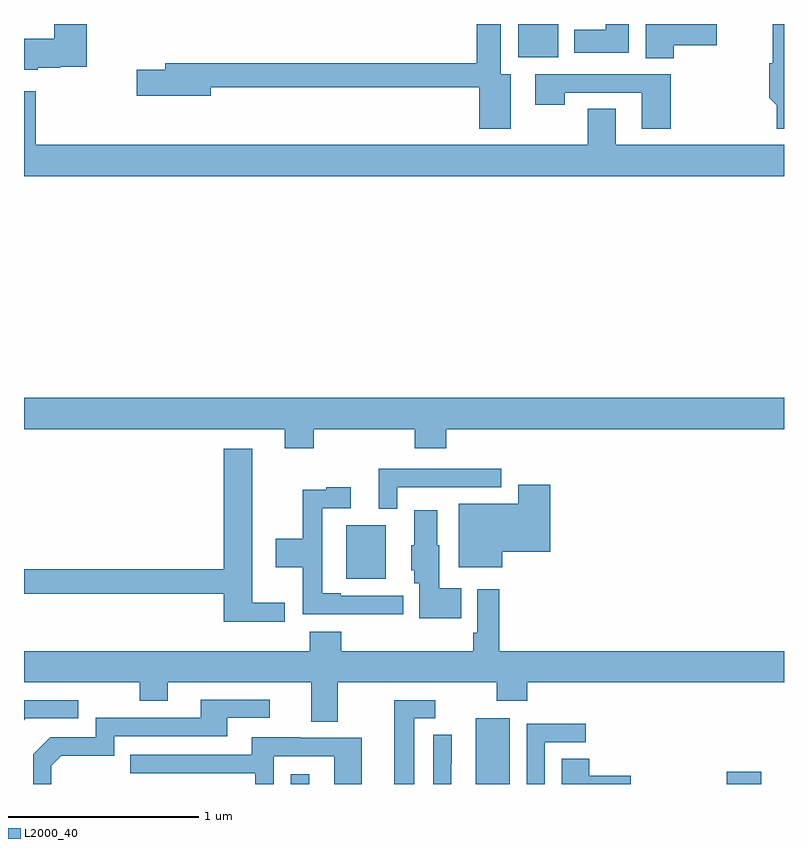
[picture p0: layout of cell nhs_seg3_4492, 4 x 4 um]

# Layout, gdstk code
import gdstk
lib = gdstk.Library(unit=1e-6, precision=1e-09)
def R(c, l, rs):  # rectangles x0, y0, x1, y1
    for r in rs: c.add(gdstk.rectangle(r[:2], r[2:], *l))
def P(c, l, *ps):  # polygons
    for p in ps: c.add(gdstk.Polygon(p, *l))
L2000_40 = (2000, 40)

nhs_seg3_4492 = lib.new_cell('nhs_seg3_4492')
R(nhs_seg3_4492, L2000_40, [(352.404,680.4,352.501,680.452), (353.378,680.4,353.557,680.746), (354.698,680.4,354.881,680.464), (352.697,681.479,352.903,681.763), (353.6,684.224,353.812,684.4)])
P(nhs_seg3_4492, L2000_40, [(351.072,684.169),(351.192,684.169),(351.192,684.176),(351.329,684.176),(351.329,684.4),(351.158,684.4),(351.158,684.322),(351,684.322),(351,684.158),(351.072,684.158)],
  [(353.563,684.136),(353.509,684.136),(353.509,684.4),(353.384,684.4),(353.384,684.194),(351.743,684.194),(351.743,684.158),(351.594,684.158),(351.594,684.023),(351.982,684.023),(351.982,684.066),(353.396,684.066),(353.396,683.85),(353.563,683.85)],
  [(354.184,684.4),(354.062,684.4),(354.062,684.37),(353.897,684.37),(353.897,684.248),(354.184,684.248)],
  [(355,684.4),(354.94,684.4),(354.94,684.194),(354.923,684.194),(354.923,684.012),(354.961,683.973),(354.961,683.85),(355,683.85)],
  [(354.419,684.287),(354.646,684.287),(354.646,684.4),(354.272,684.4),(354.272,684.22),(354.419,684.22)],
  [(354.404,684.135),(353.691,684.135),(353.691,683.976),(353.847,683.976),(353.847,684.039),(354.251,684.039),(354.251,683.85),(354.404,683.85)],
  [(355,683.764),(354.115,683.764),(354.115,683.954),(353.968,683.954),(353.968,683.764),(351.061,683.764),(351.061,684.046),(351,684.046),(351,683.6),(355,683.6)],
  [(352.526,682.268),(353.057,682.268),(353.057,682.166),(353.222,682.166),(353.222,682.268),(355,682.268),(355,682.432),(351,682.432),(351,682.268),(352.373,682.268),(352.373,682.166),(352.526,682.166)],
  [(352.372,681.353),(352.201,681.353),(352.201,682.165),(352.052,682.165),(352.052,681.53),(351,681.53),(351,681.402),(352.052,681.402),(352.052,681.254),(352.372,681.254)],
  [(352.965,681.963),(353.512,681.963),(353.512,682.059),(352.868,682.059),(352.868,681.848),(352.965,681.848)],
  [(353.518,681.623),(353.771,681.623),(353.771,681.976),(353.6,681.976),(353.6,681.874),(353.288,681.874),(353.288,681.542),(353.518,681.542)],
  [(352.996,681.39),(352.666,681.39),(352.666,681.403),(352.569,681.403),(352.569,681.852),(352.72,681.852),(352.72,681.961),(352.592,681.961),(352.592,681.95),(352.468,681.95),(352.468,681.69),(352.326,681.69),(352.326,681.542),(352.468,681.542),(352.468,681.294),(352.753,681.294),(352.753,681.293),(352.996,681.293)],
  [(353.3,681.43),(353.185,681.43),(353.185,681.657),(353.176,681.657),(353.176,681.841),(353.054,681.841),(353.054,681.657),(353.039,681.657),(353.039,681.525),(353.054,681.525),(353.054,681.456),(353.081,681.456),(353.081,681.272),(353.3,681.272)],
  [(352.651,680.936),(353.488,680.936),(353.488,680.837),(353.648,680.837),(353.648,680.936),(355,680.936),(355,681.1),(353.501,681.1),(353.501,681.424),(353.385,681.424),(353.385,681.196),(353.365,681.196),(353.365,681.1),(352.67,681.1),(352.67,681.202),(352.505,681.202),(352.505,681.1),(351,681.1),(351,680.936),(351.61,680.936),(351.61,680.837),(351.757,680.837),(351.757,680.936),(352.511,680.936),(352.511,680.728),(352.651,680.728)],
  [(351.144,680.496),(351.197,680.549),(351.474,680.549),(351.474,680.652),(352.069,680.652),(352.069,680.748),(352.294,680.748),(352.294,680.844),(351.929,680.844),(351.929,680.748),(351.378,680.748),(351.378,680.646),(351.138,680.646),(351.048,680.556),(351.048,680.4),(351.144,680.4)],
  [(353.053,680.745),(353.164,680.745),(353.164,680.841),(352.949,680.841),(352.949,680.4),(353.053,680.4)],
  [(351.009,680.745),(351.286,680.745),(351.286,680.841),(351,680.841),(351,680.736)],
  [(353.742,680.619),(353.956,680.619),(353.956,680.718),(353.646,680.718),(353.646,680.4),(353.742,680.4)],
  [(353.249,680.506),(353.25,680.506),(353.25,680.66),(353.154,680.66),(353.154,680.4),(353.249,680.4)],
  [(352.314,680.547),(352.632,680.547),(352.632,680.4),(352.777,680.4),(352.777,680.643),(352.453,680.643),(352.453,680.647),(352.199,680.647),(352.199,680.553),(351.559,680.553),(351.559,680.457),(352.218,680.457),(352.218,680.4),(352.314,680.4)],
  [(354.193,680.444),(353.975,680.444),(353.975,680.534),(353.831,680.534),(353.831,680.4),(354.193,680.4)])

lib.write_gds('nhs_seg3_4492.gds')
